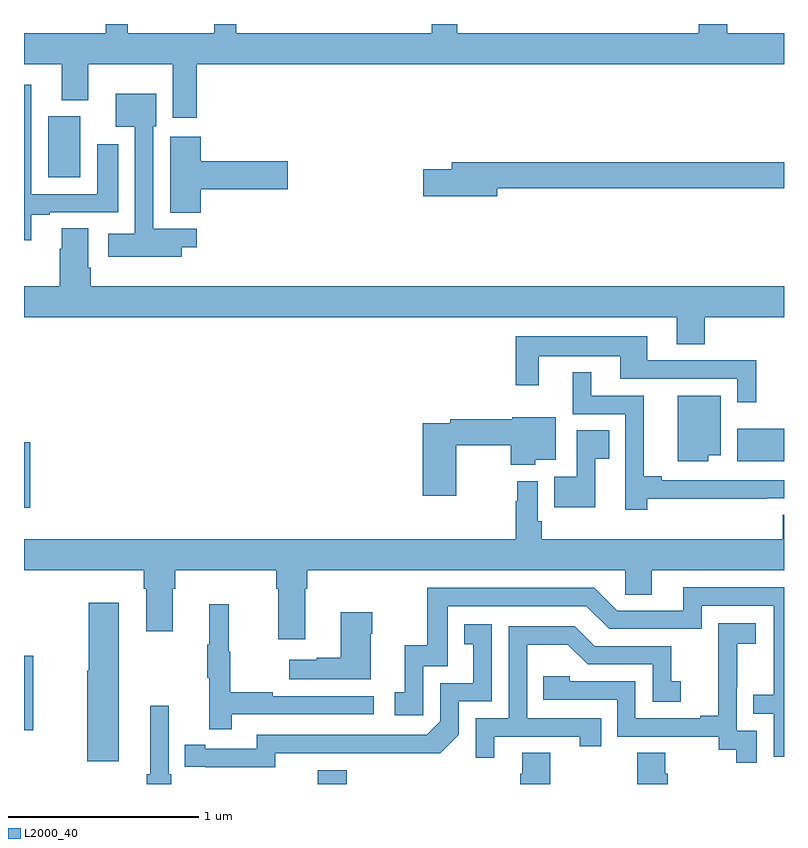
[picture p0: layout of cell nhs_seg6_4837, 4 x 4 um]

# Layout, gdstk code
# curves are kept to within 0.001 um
import gdstk
lib = gdstk.Library(unit=1e-6, precision=1e-09)
def R(c, l, rs):  # rectangles x0, y0, x1, y1
    for r in rs: c.add(gdstk.rectangle(r[:2], r[2:], *l))
def P(c, l, *ps):  # polygons
    for p in ps: c.add(gdstk.Polygon(p, *l))
L2000_40 = (2000, 40)

nhs_seg6_4837 = lib.new_cell('nhs_seg6_4837')
R(nhs_seg6_4837, L2000_40, [(398.546,991.5,398.699,991.573), (397,991.782,397.048,992.176), (397,992.954,397.033,993.298), (400.754,993.2,401,993.37), (397.127,994.694,397.297,995.014)])
P(nhs_seg6_4837, L2000_40, [(397.91,995.288),(401,995.288),(401,995.452),(400.702,995.452),(400.702,995.5),(400.55,995.5),(400.55,995.452),(399.281,995.452),(399.281,995.5),(399.145,995.5),(399.145,995.452),(398.117,995.452),(398.117,995.5),(398,995.5),(398,995.452),(397.547,995.452),(397.547,995.5),(397.429,995.5),(397.429,995.452),(397,995.452),(397,995.288),(397.199,995.288),(397.199,995.099),(397.339,995.099),(397.339,995.288),(397.784,995.288),(397.784,995.007),(397.91,995.007)],
  [(397.039,994.497),(397.135,994.497),(397.135,994.509),(397.495,994.509),(397.495,994.867),(397.385,994.867),(397.385,994.605),(397.038,994.605),(397.038,995.179),(397,995.179),(397,994.362),(397.039,994.362)],
  [(397.831,994.325),(397.909,994.325),(397.909,994.422),(397.68,994.422),(397.68,994.962),(397.696,994.962),(397.696,995.134),(397.484,995.134),(397.484,994.958),(397.584,994.958),(397.584,994.396),(397.443,994.396),(397.443,994.274),(397.831,994.274)],
  [(397.931,994.631),(398.389,994.631),(398.389,994.778),(397.931,994.778),(397.931,994.906),(397.769,994.906),(397.769,994.507),(397.931,994.507)],
  [(399.49,994.636),(401,994.636),(401,994.772),(399.251,994.772),(399.251,994.736),(399.102,994.736),(399.102,994.594),(399.49,994.594)],
  [(400.584,993.956),(401,993.956),(401,994.12),(397.352,994.12),(397.352,994.216),(397.339,994.216),(397.339,994.424),(397.199,994.424),(397.199,994.316),(397.187,994.316),(397.187,994.12),(397,994.12),(397,993.956),(400.436,993.956),(400.436,993.814),(400.584,993.814)],
  [(400.853,993.729),(400.279,993.729),(400.279,993.856),(399.588,993.856),(399.588,993.6),(399.709,993.6),(399.709,993.752),(400.139,993.752),(400.139,993.633),(400.755,993.633),(400.755,993.51),(400.853,993.51)],
  [(400.28,993.002),(400.91,993.002),(400.91,993.003),(401,993.003),(401,993.099),(400.357,993.099),(400.357,993.119),(400.262,993.119),(400.262,993.543),(399.985,993.543),(399.985,993.667),(399.887,993.667),(399.887,993.447),(400.164,993.447),(400.164,992.943),(400.28,992.943)],
  [(400.6,993.23),(400.666,993.23),(400.666,993.544),(400.442,993.544),(400.442,993.2),(400.6,993.2)],
  [(399.276,993.283),(399.562,993.283),(399.562,993.179),(399.69,993.179),(399.69,993.206),(399.799,993.206),(399.799,993.43),(399.569,993.43),(399.569,993.419),(399.244,993.419),(399.244,993.399),(399.098,993.399),(399.098,993.018),(399.276,993.018)],
  [(400.006,993.211),(400.079,993.211),(400.079,993.362),(399.909,993.362),(399.909,993.118),(399.79,993.118),(399.79,992.957),(400.006,992.957)],
  [(398.479,992.528),(398.492,992.528),(398.492,992.624),(400.164,992.624),(400.164,992.497),(400.303,992.497),(400.303,992.624),(401,992.624),(401,992.918),(400.994,992.918),(400.994,992.788),(399.725,992.788),(399.725,992.884),(399.705,992.884),(399.705,993.094),(399.597,993.094),(399.597,992.987),(399.589,992.987),(399.589,992.788),(397,992.788),(397,992.624),(397.631,992.624),(397.631,992.528),(397.643,992.528),(397.643,992.304),(397.783,992.304),(397.783,992.528),(397.796,992.528),(397.796,992.624),(398.327,992.624),(398.327,992.528),(398.339,992.528),(398.339,992.262),(398.479,992.262)],
  [(401,992.535),(400.469,992.535),(400.469,992.412),(400.122,992.412),(400.002,992.532),(399.123,992.532),(399.123,992.23),(399.005,992.23),(399.005,991.983),(398.952,991.983),(398.952,991.863),(399.102,991.863),(399.102,992.121),(399.231,992.121),(399.231,992.436),(399.96,992.436),(400.08,992.316),(400.566,992.316),(400.566,992.439),(400.947,992.439),(400.947,991.97),(400.837,991.97),(400.837,991.869),(400.947,991.869),(400.947,991.644),(401,991.644)],
  [(397.498,992.455),(397.34,992.455),(397.34,992.097),(397.334,992.097),(397.334,991.62),(397.498,991.62)],
  [(398.093,991.866),(398.842,991.866),(398.842,991.962),(398.309,991.962),(398.309,991.982),(398.086,991.982),(398.086,992.196),(398.078,992.196),(398.078,992.446),(397.976,992.446),(397.976,992.233),(397.965,992.233),(397.965,992.059),(397.976,992.059),(397.976,991.788),(398.093,991.788)],
  [(398.824,992.291),(398.832,992.291),(398.832,992.404),(398.666,992.404),(398.666,992.165),(398.54,992.165),(398.54,992.155),(398.397,992.155),(398.397,992.051),(398.824,992.051)],
  [(400.857,991.779),(400.752,991.779),(400.752,992.009),(400.754,992.009),(400.754,992.237),(400.852,992.237),(400.852,992.347),(400.654,992.347),(400.654,992.141),(400.655,992.141),(400.655,991.858),(400.559,991.858),(400.559,991.845),(400.218,991.845),(400.218,992.04),(399.873,992.04),(399.873,992.067),(399.733,992.067),(399.733,991.944),(400.122,991.944),(400.122,991.749),(400.656,991.749),(400.656,991.681),(400.749,991.681),(400.749,991.611),(400.857,991.611)],
  [(398.322,991.662),(399.19,991.661),(399.288,991.758),(399.288,991.935),(399.462,991.935),(399.462,992.341),(399.316,992.341),(399.316,992.235),(399.365,992.235),(399.365,992.031),(399.192,992.031),(399.192,991.83),(399.12,991.758),(398.226,991.758),(398.226,991.686),(397.954,991.686),(397.954,991.706),(397.846,991.706),(397.846,991.59),(398.322,991.589)],
  [(399.475,991.749),(399.926,991.749),(399.926,991.698),(400.037,991.698),(400.037,991.845),(399.648,991.845),(399.648,992.234),(399.862,992.234),(399.966,992.13),(400.308,992.13),(400.308,991.932),(400.456,991.932),(400.456,992.041),(400.407,992.041),(400.407,992.226),(400.003,992.226),(399.898,992.331),(399.552,992.331),(399.552,991.845),(399.378,991.845),(399.378,991.638),(399.475,991.638)],
  [(397.775,991.552),(397.761,991.552),(397.761,991.912),(397.664,991.912),(397.664,991.552),(397.645,991.552),(397.645,991.5),(397.775,991.5)],
  [(400.388,991.554),(400.375,991.554),(400.375,991.664),(400.228,991.664),(400.228,991.5),(400.388,991.5)],
  [(399.771,991.664),(399.623,991.664),(399.623,991.554),(399.611,991.554),(399.611,991.5),(399.771,991.5)])

lib.write_gds('nhs_seg6_4837.gds')
